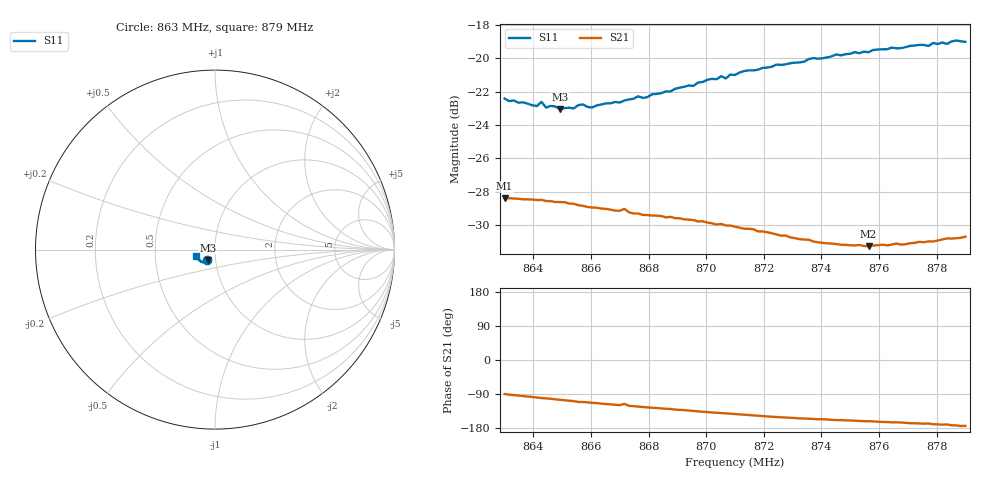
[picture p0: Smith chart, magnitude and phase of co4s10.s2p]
# HZ S RI R 50
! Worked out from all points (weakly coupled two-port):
!   101 points, 863 MHz to 879 MHz, reference 50 ohm
!   highest |S21| = -28.39 dB at 863 MHz (marker M1); lowest = -31.3 dB at 875.64 MHz (marker M2)
!   lowest |S11| = -23.1 dB at 864.92 MHz (marker M3), VSWR 1.15, Z = 45.8 - j5.32 ohm
!   |S11| at or under -10 dB: start of sweep to end of sweep
!   S12 and S22 are empty: the file has one direction only
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8.63e8  -0.0464 -0.0598  0.000145 -0.038  0 0  0 0
8.6412e8  -0.0419 -0.0584  -0.00582 -0.0371  0 0  0 0
8.6428e8  -0.0417 -0.0611  -0.0068 -0.037  0 0  0 0
8.6444e8  -0.0418 -0.0576  -0.00729 -0.0366  0 0  0 0
8.646e8  -0.041 -0.0591  -0.00794 -0.0364  0 0  0 0
8.6492e8  -0.0403 -0.0577  -0.00961 -0.0358  0 0  0 0
8.654e8  -0.0387 -0.0592  -0.0116 -0.0347  0 0  0 0
8.6572e8  -0.04 -0.0607  -0.0128 -0.0337  0 0  0 0
8.6604e8  -0.0378 -0.0603  -0.0139 -0.0328  0 0  0 0
8.6684e8  -0.038 -0.0634  -0.0164 -0.0308  0 0  0 0
8.6716e8  -0.04 -0.0631  -0.0154 -0.0318  0 0  0 0
8.6748e8  -0.0384 -0.0652  -0.0181 -0.0291  0 0  0 0
8.6844e8  -0.0409 -0.0671  -0.0206 -0.0265  0 0  0 0
8.7052e8  -0.0517 -0.0716  -0.0244 -0.0205  0 0  0 0
8.7068e8  -0.051 -0.0704  -0.0244 -0.0199  0 0  0 0
8.7084e8  -0.0533 -0.0717  -0.0246 -0.0196  0 0  0 0
8.71e8  -0.0532 -0.0714  -0.0248 -0.0189  0 0  0 0
8.7372e8  -0.0717 -0.0698  -0.0257 -0.0117  0 0  0 0
8.7564e8  -0.0851 -0.0603  -0.0259 -0.00868  0 0  0 0
8.7644e8  -0.0917 -0.0563  -0.0266 -0.00734  0 0  0 0
8.7868e8  -0.1064 -0.0383  -0.0286 -0.00367  0 0  0 0
8.79e8  -0.1058 -0.037  -0.029 -0.00314  0 0  0 0
